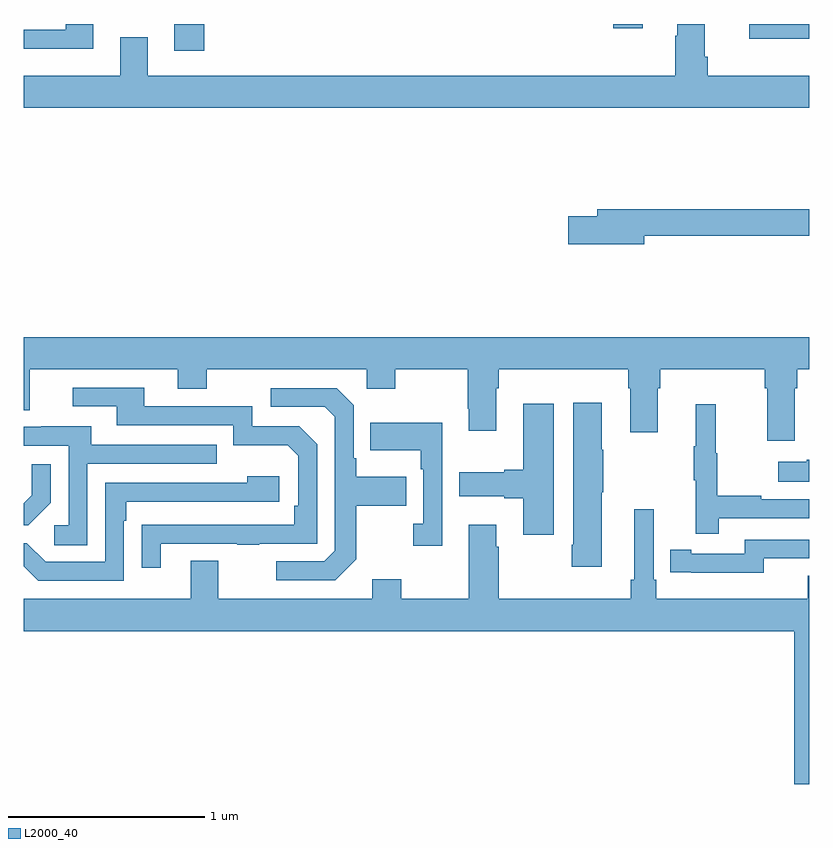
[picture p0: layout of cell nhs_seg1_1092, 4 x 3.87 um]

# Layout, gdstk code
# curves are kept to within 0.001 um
import gdstk
lib = gdstk.Library(unit=1e-6, precision=1e-09)
def R(c, l, rs):  # rectangles x0, y0, x1, y1
    for r in rs: c.add(gdstk.rectangle(r[:2], r[2:], *l))
def P(c, l, *ps):  # polygons
    for p in ps: c.add(gdstk.Polygon(p, *l))
L2000_40 = (2000, 40)

nhs_seg1_1092 = lib.new_cell('nhs_seg1_1092')
R(nhs_seg1_1092, L2000_40, [(171.767,512.064,171.92,512.199), (174.694,512.123,175,512.199), (174.003,512.178,174.151,512.199)])
P(nhs_seg1_1092, L2000_40, [(171.355,512.199),(171.215,512.199),(171.215,512.169),(171,512.169),(171,512.072),(171.355,512.072)],
  [(175,511.936),(174.482,511.936),(174.482,512.032),(174.469,512.032),(174.469,512.199),(174.329,512.199),(174.329,512.138),(174.317,512.138),(174.317,511.936),(171.631,511.936),(171.631,512.131),(171.491,512.131),(171.491,511.936),(171,511.936),(171,511.772),(175,511.772)],
  [(174.16,511.12),(175,511.12),(175,511.256),(173.921,511.256),(173.921,511.22),(173.772,511.22),(173.772,511.078),(174.16,511.078)],
  [(171,510.232),(171.031,510.232),(171.031,510.44),(171.785,510.44),(171.785,510.341),(171.933,510.341),(171.933,510.44),(172.746,510.44),(172.746,510.341),(172.893,510.341),(172.893,510.44),(173.26,510.44),(173.26,510.241),(173.267,510.241),(173.267,510.129),(173.407,510.129),(173.407,510.344),(173.42,510.344),(173.42,510.44),(174.077,510.44),(174.077,510.344),(174.089,510.344),(174.089,510.12),(174.229,510.12),(174.229,510.344),(174.242,510.344),(174.242,510.44),(174.773,510.44),(174.773,510.344),(174.785,510.344),(174.785,510.078),(174.925,510.078),(174.925,510.344),(174.938,510.344),(174.938,510.44),(175,510.44),(175,510.604),(171,510.604)],
  [(171.697,509.553),(172.087,509.553),(172.087,509.548),(172.199,509.548),(172.199,509.553),(172.494,509.553),(172.494,510.06),(172.404,510.15),(172.164,510.15),(172.164,510.252),(171.613,510.252),(171.613,510.348),(171.249,510.348),(171.249,510.252),(171.473,510.252),(171.473,510.156),(172.068,510.156),(172.068,510.053),(172.345,510.053),(172.398,510),(172.398,509.746),(172.378,509.746),(172.378,509.649),(171.601,509.648),(171.601,509.43),(171.697,509.43)],
  [(172.693,509.473),(172.693,509.746),(172.949,509.746),(172.949,509.893),(172.693,509.893),(172.693,509.989),(172.68,509.989),(172.68,510.258),(172.593,510.345),(172.257,510.345),(172.257,510.249),(172.533,510.249),(172.584,510.198),(172.584,509.517),(172.53,509.463),(172.287,509.463),(172.287,509.367),(172.587,509.367)],
  [(173.944,509.815),(173.952,509.815),(173.952,510.032),(173.944,510.032),(173.944,510.271),(173.798,510.271),(173.798,509.548),(173.791,509.548),(173.791,509.436),(173.944,509.436)],
  [(173.698,510.265),(173.543,510.265),(173.543,509.93),(173.447,509.93),(173.447,509.917),(173.217,509.917),(173.217,509.795),(173.447,509.795),(173.447,509.783),(173.543,509.783),(173.543,509.598),(173.698,509.598)],
  [(174.539,509.682),(175,509.682),(175,509.778),(174.755,509.778),(174.755,509.798),(174.532,509.798),(174.532,510.012),(174.524,510.012),(174.524,510.262),(174.422,510.262),(174.422,510.049),(174.411,510.049),(174.411,509.875),(174.422,509.875),(174.422,509.604),(174.539,509.604)],
  [(173.13,510.169),(172.765,510.169),(172.765,510.029),(173.022,510.029),(173.022,509.933),(173.034,509.933),(173.034,509.654),(172.983,509.654),(172.983,509.541),(173.13,509.541)],
  [(171.324,509.961),(171.983,509.961),(171.983,510.057),(171.343,510.057),(171.343,510.151),(171.089,510.151),(171.089,510.147),(171,510.147),(171,510.051),(171.228,510.051),(171.228,509.646),(171.156,509.646),(171.156,509.545),(171.324,509.545)],
  [(175,509.981),(174.986,509.981),(174.986,509.971),(174.843,509.971),(174.843,509.867),(175,509.867)],
  [(171.138,509.762),(171.138,509.956),(171.041,509.956),(171.041,509.799),(171,509.758),(171,509.646),(171.022,509.646)],
  [(171.51,509.669),(171.523,509.669),(171.523,509.766),(172.3,509.766),(172.3,509.896),(172.139,509.896),(172.139,509.862),(171.414,509.862),(171.414,509.46),(171.111,509.46),(171.015,509.556),(171,509.556),(171,509.439),(171.075,509.364),(171.51,509.364)],
  [(175,509.389),(174.992,509.389),(174.992,509.272),(174.221,509.272),(174.221,509.368),(174.207,509.368),(174.207,509.728),(174.11,509.728),(174.11,509.368),(174.091,509.368),(174.091,509.272),(173.42,509.272),(173.42,509.537),(173.407,509.537),(173.407,509.65),(173.267,509.65),(173.267,509.272),(172.923,509.272),(172.923,509.371),(172.775,509.371),(172.775,509.272),(171.991,509.272),(171.991,509.467),(171.851,509.467),(171.851,509.272),(171,509.272),(171,509.108),(174.923,509.108),(174.923,508.329),(175,508.329)],
  [(174.768,509.478),(175,509.478),(175,509.574),(174.672,509.574),(174.672,509.502),(174.4,509.502),(174.4,509.522),(174.292,509.522),(174.292,509.406),(174.4,509.406),(174.4,509.405),(174.768,509.405)])

lib.write_gds('nhs_seg1_1092.gds')
